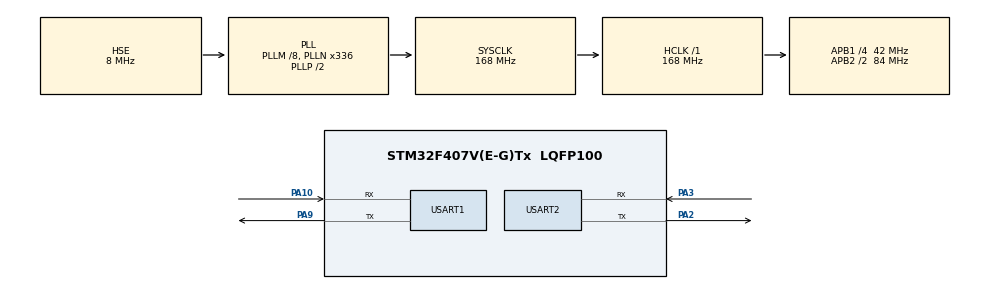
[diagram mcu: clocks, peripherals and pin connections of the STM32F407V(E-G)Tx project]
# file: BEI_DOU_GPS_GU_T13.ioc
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Mcu.Family=STM32F4
Mcu.Name=STM32F407V(E-G)Tx
Mcu.Package=LQFP100
NVIC.PriorityGroup=NVIC_PRIORITYGROUP_4
NVIC.TIM1_UP_TIM10_IRQn=true\:15\:0\:false\:false\:true\:false\:true\:true
NVIC.TimeBase=TIM1_UP_TIM10_IRQn
NVIC.TimeBaseIP=TIM1
NVIC.USART2_IRQn=true\:5\:0\:true\:false\:true\:true\:true\:true
PA10.Mode=Asynchronous
PA10.Signal=USART1_RX
PA13.Mode=Serial_Wire
PA13.Signal=SYS_JTMS-SWDIO
PA14.Mode=Serial_Wire
PA14.Signal=SYS_JTCK-SWCLK
PA2.Mode=Asynchronous
PA2.Signal=USART2_TX
PA3.Mode=Asynchronous
PA3.Signal=USART2_RX
PA9.Mode=Asynchronous
PA9.Signal=USART1_TX
PH0-OSC_IN.Mode=HSE-External-Oscillator
PH0-OSC_IN.Signal=RCC_OSC_IN
PH1-OSC_OUT.Mode=HSE-External-Oscillator
PH1-OSC_OUT.Signal=RCC_OSC_OUT
ProjectManager.HeapSize=0x200
ProjectManager.StackSize=0x400
ProjectManager.TargetToolchain=MDK-ARM V5
RCC.48MHZClocksFreq_Value=84000000
RCC.AHBFreq_Value=168000000
RCC.APB1CLKDivider=RCC_HCLK_DIV4
RCC.APB1Freq_Value=42000000
RCC.APB1TimFreq_Value=84000000
RCC.APB2CLKDivider=RCC_HCLK_DIV2
RCC.APB2Freq_Value=84000000
RCC.APB2TimFreq_Value=168000000
RCC.CortexFreq_Value=168000000
RCC.HCLKFreq_Value=168000000
RCC.HSE_VALUE=8000000
RCC.HSI_VALUE=16000000
RCC.LSE_VALUE=32768
RCC.PLLM=8
RCC.PLLN=336
RCC.PLLSourceVirtual=RCC_PLLSOURCE_HSE
RCC.SYSCLKFreq_VALUE=168000000
RCC.SYSCLKSource=RCC_SYSCLKSOURCE_PLLCLK
RCC.VCOOutputFreq_Value=336000000
USART1.VirtualMode=VM_ASYNC
USART2.VirtualMode=VM_ASYNC
VP_SYS_VS_tim1.Mode=TIM1
board=custom

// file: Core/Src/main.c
/* USER CODE BEGIN Header */
/**
  ******************************************************************************
  * @file           : main.c
  * @brief          : Main program body
  ******************************************************************************
  * @attention
  *
  * Copyright (c) 2022 STMicroelectronics.
  * All rights reserved.
  *
  * This software is licensed under terms that can be found in the LICENSE file
  * in the root directory of this software component.
  * If no LICENSE file comes with this software, it is provided AS-IS.
  *
  ******************************************************************************
  */
/* USER CODE END Header */
#include "main.h"
#include "usart.h"
#include "gpio.h"

/* USER CODE BEGIN Includes */
#include "stdio.h"
extern char USART_RX_BUF[USART_REC_LEN];
/* USER CODE END Includes */

void SystemClock_Config(void);

/* USER CODE BEGIN 0 */
int fputc(int ch, FILE *p)
{
	while(!(USART1->SR & (1<<7)));

	USART1->DR = ch;

	return ch;
}

void errorLog(int num)
{

	while (1)
	{
	  	printf("ERROR%d\r\n",num);
	}
}

void parseGpsBuffer()
{
	char *subString;
	char *subStringNext;
	char i = 0;
	//printf("------------------\r\n");
	if (Save_Data.isGetData)
	{
		Save_Data.isGetData = false;
		printf("**************\r\n");
		printf(Save_Data.GPS_Buffer);

		for (i = 0 ; i <= 6 ; i++)
		{
			if (i == 0)
			{
				if ((subString = strstr(Save_Data.GPS_Buffer, ",")) == NULL)
					errorLog(1);	//��������
			}
			else
			{
				subString++;
				if ((subStringNext = strstr(subString, ",")) != NULL)
				{
					char usefullBuffer[2];
					switch(i)
					{
						case 1:memcpy(Save_Data.UTCTime, subString, subStringNext - subString);break;	//��ȡUTCʱ��
						case 2:memcpy(usefullBuffer, subString, subStringNext - subString);break;	//��ȡUTCʱ��
						case 3:memcpy(Save_Data.latitude, subString, subStringNext - subString);break;	//��ȡγ����Ϣ
						case 4:memcpy(Save_Data.N_S, subString, subStringNext - subString);break;	//��ȡN/S
						case 5:memcpy(Save_Data.longitude, subString, subStringNext - subString);break;	//��ȡ������Ϣ
						case 6:memcpy(Save_Data.E_W, subString, subStringNext - subString);break;	//��ȡE/W

						default:break;
					}

					subString = subStringNext;
					Save_Data.isParseData = true;
					if(usefullBuffer[0] == 'A')
						Save_Data.isUsefull = true;
					else if(usefullBuffer[0] == 'V')
						Save_Data.isUsefull = false;

				}
				else
				{
					errorLog(2);	//��������
				}
			}

		}
	}
}

void printGpsBuffer()
{
	if (Save_Data.isParseData)
	{
		Save_Data.isParseData = false;

		printf("Save_Data.UTCTime = ");
		printf(Save_Data.UTCTime);
		printf("\r\n");

		if(Save_Data.isUsefull)
		{
			Save_Data.isUsefull = false;
			printf("Save_Data.latitude = ");
			printf(Save_Data.latitude);
			printf("\r\n");

			printf("Save_Data.N_S = ");
			printf(Save_Data.N_S);
			printf("\r\n");

			printf("Save_Data.longitude = ");
			printf(Save_Data.longitude);
			printf("\r\n");

			printf("Save_Data.E_W = ");
			printf(Save_Data.E_W);
			printf("\r\n");
		}
		else
		{
			printf("GPS DATA is not usefull!\r\n");
		}

	}
}
uint8_t REV[5]={0};

/* USER CODE END 0 */

int main(void)
{

  /* MCU Configuration--------------------------------------------------------*/

  /* Reset of all peripherals, Initializes the Flash interface and the Systick. */
  HAL_Init();

  /* Configure the system clock */
  SystemClock_Config();

  /* Initialize all configured peripherals */
  MX_GPIO_Init();
  MX_USART1_UART_Init();
  MX_USART2_UART_Init();
  /* USER CODE BEGIN 2 */

	clrStruct();

	printf("Welcome to use!START\r\n");
	//HAL_UART_Transmit_IT(&huart2,(uint8_t *)"UART SEND \n",10);
	//HAL_UART_Receive_IT(&huart2,(uint8_t *)USART_RX_BUF,USART_REC_LEN);

  /* USER CODE END 2 */

  /* Infinite loop */
  /* USER CODE BEGIN WHILE */
  while (1)
  {
		printf("main while \n");
		HAL_Delay(1000);
		printf("BUFFER : %s \n",USART_RX_BUF);
		//HAL_UART_Receive_IT(&huart2,(uint8_t *)USART_RX_BUF,1);

		parseGpsBuffer();
		printGpsBuffer();
    /* USER CODE END WHILE */

  }
}

void SystemClock_Config(void)
{
  RCC_OscInitTypeDef RCC_OscInitStruct = {0};
  RCC_ClkInitTypeDef RCC_ClkInitStruct = {0};

  /** Configure the main internal regulator output voltage
  */
  __HAL_RCC_PWR_CLK_ENABLE();
  __HAL_PWR_VOLTAGESCALING_CONFIG(PWR_REGULATOR_VOLTAGE_SCALE1);

  /** Initializes the RCC Oscillators according to the specified parameters
  * in the RCC_OscInitTypeDef structure.
  */
  RCC_OscInitStruct.OscillatorType = RCC_OSCILLATORTYPE_HSE;
  RCC_OscInitStruct.HSEState = RCC_HSE_ON;
  RCC_OscInitStruct.PLL.PLLState = RCC_PLL_ON;
  RCC_OscInitStruct.PLL.PLLSource = RCC_PLLSOURCE_HSE;
  RCC_OscInitStruct.PLL.PLLM = 8;
  RCC_OscInitStruct.PLL.PLLN = 336;
  RCC_OscInitStruct.PLL.PLLP = RCC_PLLP_DIV2;
  RCC_OscInitStruct.PLL.PLLQ = 4;
  if (HAL_RCC_OscConfig(&RCC_OscInitStruct) != HAL_OK)
  {
    Error_Handler();
  }

  /** Initializes the CPU, AHB and APB buses clocks
  */
  RCC_ClkInitStruct.ClockType = RCC_CLOCKTYPE_HCLK|RCC_CLOCKTYPE_SYSCLK
                              |RCC_CLOCKTYPE_PCLK1|RCC_CLOCKTYPE_PCLK2;
  RCC_ClkInitStruct.SYSCLKSource = RCC_SYSCLKSOURCE_PLLCLK;
  RCC_ClkInitStruct.AHBCLKDivider = RCC_SYSCLK_DIV1;
  RCC_ClkInitStruct.APB1CLKDivider = RCC_HCLK_DIV4;
  RCC_ClkInitStruct.APB2CLKDivider = RCC_HCLK_DIV2;

  if (HAL_RCC_ClockConfig(&RCC_ClkInitStruct, FLASH_LATENCY_5) != HAL_OK)
  {
    Error_Handler();
  }
}

void HAL_TIM_PeriodElapsedCallback(TIM_HandleTypeDef *htim)
{
  if (htim->Instance == TIM1) {
    HAL_IncTick();
  }
}

void Error_Handler(void)
{
  __disable_irq();
  while (1)
  {
  }
}
